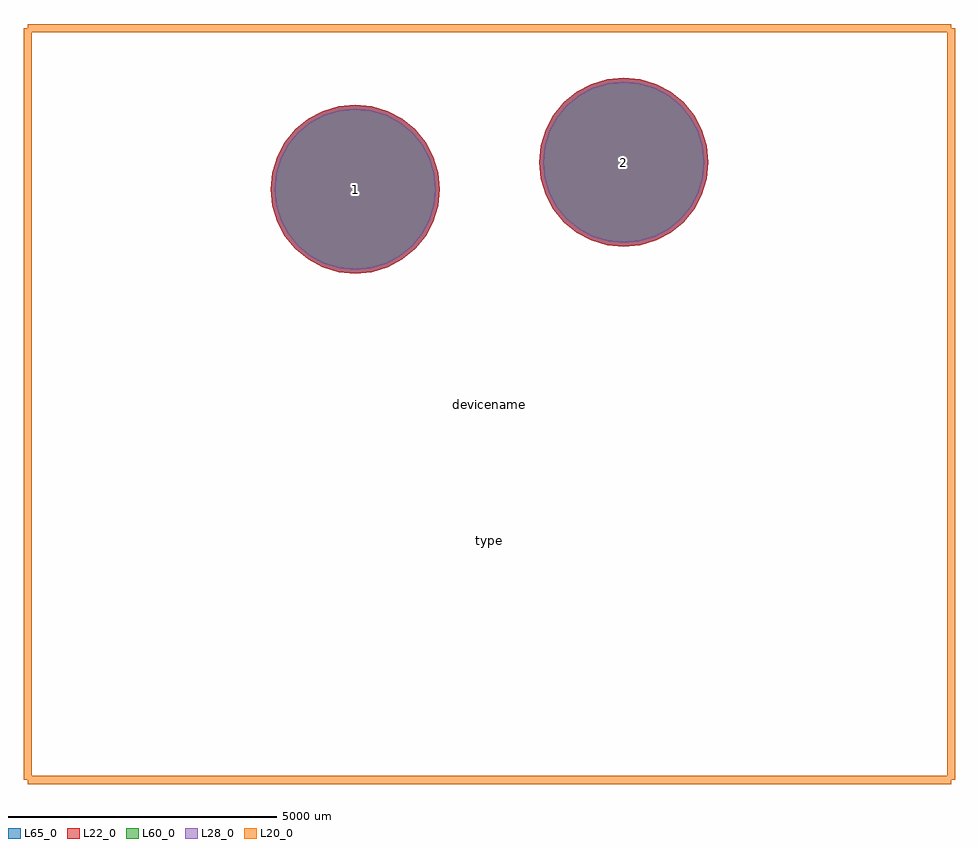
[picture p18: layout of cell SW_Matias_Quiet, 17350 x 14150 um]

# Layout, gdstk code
import gdstk
lib = gdstk.Library(unit=1e-6, precision=1e-09)
def P(c, l, *ps):  # polygons
    for p in ps: c.add(gdstk.Polygon(p, *l))
L20_0 = (20, 0)
L22_0 = (22, 0)
L28_0 = (28, 0)
L60_0 = (60, 0)
L65_0 = (65, 0)

sw_matias_quiet = lib.new_cell('SW_Matias_Quiet')
P(sw_matias_quiet, L22_0, [(6575,500),(6544.737,807.267),(6455.11,1102.726),(6309.565,1375.023),(6113.693,1613.693),(5875.023,1809.565),(5602.726,1955.11),(5307.267,2044.737),(5000,2075),(4692.733,2044.737),(4397.274,1955.11),(4124.977,1809.565),(3886.307,1613.693),(3690.435,1375.023),(3544.89,1102.726),(3455.263,807.267),(3425,500),(3455.263,192.733),(3544.89,-102.726),(3690.435,-375.023),(3886.307,-613.693),(4124.977,-809.565),(4397.274,-955.11),(4692.733,-1044.737),(5000,-1075),(5307.267,-1044.737),(5602.726,-955.11),(5875.023,-809.565),(6113.693,-613.693),(6309.565,-375.023),(6455.11,-102.726),(6544.737,192.733)],
  [(1575,0),(1544.737,307.267),(1455.11,602.726),(1309.565,875.023),(1113.693,1113.693),(875.023,1309.565),(602.726,1455.11),(307.267,1544.737),(0,1575),(-307.267,1544.737),(-602.726,1455.11),(-875.023,1309.565),(-1113.693,1113.693),(-1309.565,875.023),(-1455.11,602.726),(-1544.737,307.267),(-1575,0),(-1544.737,-307.267),(-1455.11,-602.726),(-1309.565,-875.023),(-1113.693,-1113.693),(-875.023,-1309.565),(-602.726,-1455.11),(-307.267,-1544.737),(0,-1575),(307.267,-1544.737),(602.726,-1455.11),(875.023,-1309.565),(1113.693,-1113.693),(1309.565,-875.023),(1455.11,-602.726),(1544.737,-307.267)])
P(sw_matias_quiet, L28_0, [(6500,500),(6471.178,792.635),(6385.819,1074.025),(6247.204,1333.355),(6060.66,1560.66),(5833.355,1747.204),(5574.025,1885.819),(5292.635,1971.178),(5000,2000),(4707.365,1971.178),(4425.975,1885.819),(4166.645,1747.204),(3939.34,1560.66),(3752.796,1333.355),(3614.181,1074.025),(3528.822,792.635),(3500,500),(3528.822,207.365),(3614.181,-74.025),(3752.796,-333.355),(3939.34,-560.66),(4166.645,-747.204),(4425.975,-885.819),(4707.365,-971.178),(5000,-1000),(5292.635,-971.178),(5574.025,-885.819),(5833.355,-747.204),(6060.66,-560.66),(6247.204,-333.355),(6385.819,-74.025),(6471.178,207.365)],
  [(1500,0),(1471.178,292.635),(1385.819,574.025),(1247.204,833.355),(1060.66,1060.66),(833.355,1247.204),(574.025,1385.819),(292.635,1471.178),(0,1500),(-292.635,1471.178),(-574.025,1385.819),(-833.355,1247.204),(-1060.66,1060.66),(-1247.204,833.355),(-1385.819,574.025),(-1471.178,292.635),(-1500,0),(-1471.178,-292.635),(-1385.819,-574.025),(-1247.204,-833.355),(-1060.66,-1060.66),(-833.355,-1247.204),(-574.025,-1385.819),(-292.635,-1471.178),(0,-1500),(292.635,-1471.178),(574.025,-1385.819),(833.355,-1247.204),(1060.66,-1060.66),(1247.204,-833.355),(1385.819,-574.025),(1471.178,-292.635)])
P(sw_matias_quiet, L60_0, [(6500,500),(6471.178,792.635),(6385.819,1074.025),(6247.204,1333.355),(6060.66,1560.66),(5833.355,1747.204),(5574.025,1885.819),(5292.635,1971.178),(5000,2000),(4707.365,1971.178),(4425.975,1885.819),(4166.645,1747.204),(3939.34,1560.66),(3752.796,1333.355),(3614.181,1074.025),(3528.822,792.635),(3500,500),(3528.822,207.365),(3614.181,-74.025),(3752.796,-333.355),(3939.34,-560.66),(4166.645,-747.204),(4425.975,-885.819),(4707.365,-971.178),(5000,-1000),(5292.635,-971.178),(5574.025,-885.819),(5833.355,-747.204),(6060.66,-560.66),(6247.204,-333.355),(6385.819,-74.025),(6471.178,207.365)],
  [(1500,0),(1471.178,292.635),(1385.819,574.025),(1247.204,833.355),(1060.66,1060.66),(833.355,1247.204),(574.025,1385.819),(292.635,1471.178),(0,1500),(-292.635,1471.178),(-574.025,1385.819),(-833.355,1247.204),(-1060.66,1060.66),(-1247.204,833.355),(-1385.819,574.025),(-1471.178,292.635),(-1500,0),(-1471.178,-292.635),(-1385.819,-574.025),(-1247.204,-833.355),(-1060.66,-1060.66),(-833.355,-1247.204),(-574.025,-1385.819),(-292.635,-1471.178),(0,-1500),(292.635,-1471.178),(574.025,-1385.819),(833.355,-1247.204),(1060.66,-1060.66),(1247.204,-833.355),(1385.819,-574.025),(1471.178,-292.635)])
P(sw_matias_quiet, L65_0, [(6575,500),(6544.737,807.267),(6455.11,1102.726),(6309.565,1375.023),(6113.693,1613.693),(5875.023,1809.565),(5602.726,1955.11),(5307.267,2044.737),(5000,2075),(4692.733,2044.737),(4397.274,1955.11),(4124.977,1809.565),(3886.307,1613.693),(3690.435,1375.023),(3544.89,1102.726),(3455.263,807.267),(3425,500),(3455.263,192.733),(3544.89,-102.726),(3690.435,-375.023),(3886.307,-613.693),(4124.977,-809.565),(4397.274,-955.11),(4692.733,-1044.737),(5000,-1075),(5307.267,-1044.737),(5602.726,-955.11),(5875.023,-809.565),(6113.693,-613.693),(6309.565,-375.023),(6455.11,-102.726),(6544.737,192.733)],
  [(1575,0),(1544.737,307.267),(1455.11,602.726),(1309.565,875.023),(1113.693,1113.693),(875.023,1309.565),(602.726,1455.11),(307.267,1544.737),(0,1575),(-307.267,1544.737),(-602.726,1455.11),(-875.023,1309.565),(-1113.693,1113.693),(-1309.565,875.023),(-1455.11,602.726),(-1544.737,307.267),(-1575,0),(-1544.737,-307.267),(-1455.11,-602.726),(-1309.565,-875.023),(-1113.693,-1113.693),(-875.023,-1309.565),(-602.726,-1455.11),(-307.267,-1544.737),(0,-1575),(307.267,-1544.737),(602.726,-1455.11),(875.023,-1309.565),(1113.693,-1113.693),(1309.565,-875.023),(1455.11,-602.726),(1544.737,-307.267)])
sw_matias_quiet.add(gdstk.FlexPath([(-6100,-11000),(-6100,3000)], 149.998, ends="flush", simple_path=True, layer=20, datatype=0))  # L20_0
sw_matias_quiet.add(gdstk.FlexPath([(11100,-11000),(-6100,-11000)], 149.998, ends="flush", simple_path=True, layer=20, datatype=0))  # L20_0
sw_matias_quiet.add(gdstk.FlexPath([(11100,3000),(11100,-11000)], 149.998, ends="flush", simple_path=True, layer=20, datatype=0))  # L20_0
sw_matias_quiet.add(gdstk.FlexPath([(-6100,3000),(11100,3000)], 149.998, ends="flush", simple_path=True, layer=20, datatype=0))  # L20_0
sw_matias_quiet.add(gdstk.Label('2', (5000,500), layer=28, texttype=0))
sw_matias_quiet.add(gdstk.Label('1', (0,0), layer=28, texttype=0))
sw_matias_quiet.add(gdstk.Label('type', (2500,-6540), layer=9, texttype=0))
sw_matias_quiet.add(gdstk.Label('devicename', (2500,-4000), layer=9, texttype=0))

lib.write_gds('SW_Matias_Quiet.gds')
